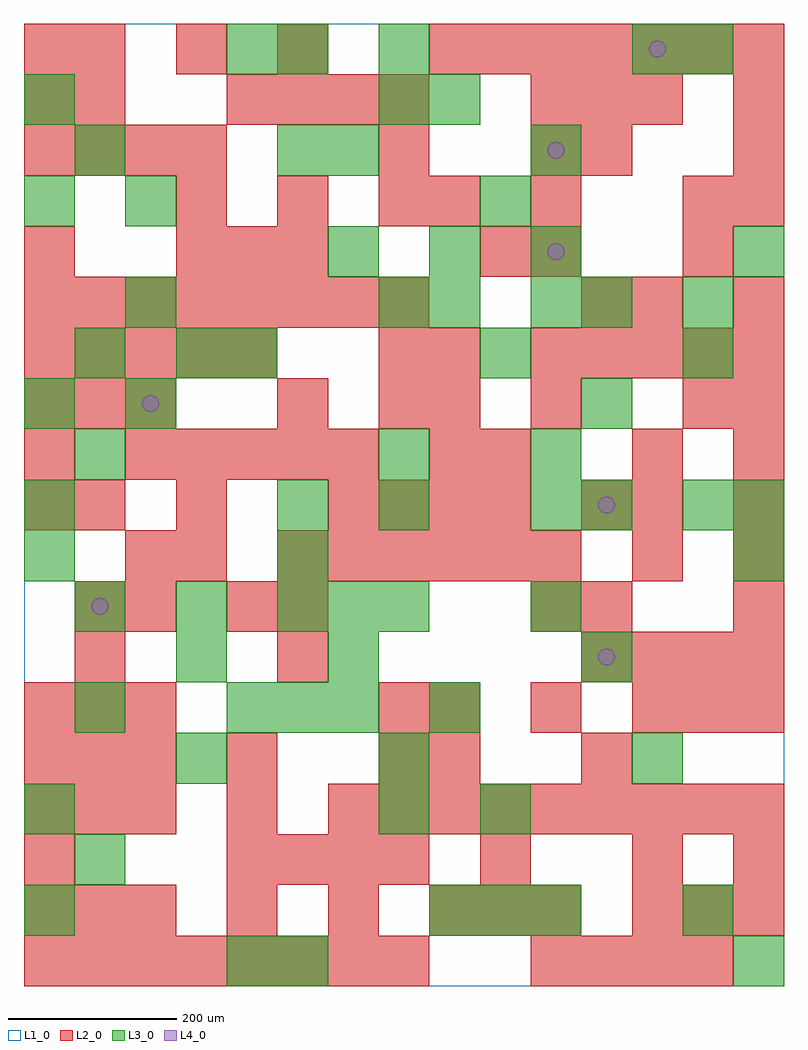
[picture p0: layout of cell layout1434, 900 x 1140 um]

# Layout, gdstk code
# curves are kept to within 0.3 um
import gdstk
lib = gdstk.Library(unit=1e-6, precision=1e-09)
def R(c, l, rs):  # rectangles x0, y0, x1, y1
    for r in rs: c.add(gdstk.rectangle(r[:2], r[2:], *l))
def A(c, l, x, y, w, h, nx, ny, dx, dy):  # array of equal rectangles
    R(c, l, [(x+i*dx, y+j*dy, x+i*dx+w, y+j*dy+h) for i in range(nx) for j in range(ny)])
def P(c, l, *ps):  # polygons
    for p in ps: c.add(gdstk.Polygon(p, *l))
L1_0 = (1, 0)
L2_0 = (2, 0)
L3_0 = (3, 0)
L4_0 = (4, 0)

layout1434 = lib.new_cell('layout1434')
R(layout1434, L1_0, [(0,0,900,1140)])
A(layout1434, L2_0, 0, 0, 60, 60, 8, 2, 60, 780)
A(layout1434, L2_0, 600, 0, 60, 60, 4, 1, 60, 0)
A(layout1434, L2_0, 0, 60, 60, 60, 3, 2, 60, 120)
A(layout1434, L2_0, 240, 60, 60, 60, 3, 1, 120, 0)
A(layout1434, L2_0, 720, 60, 60, 60, 3, 1, 60, 0)
A(layout1434, L2_0, 240, 120, 60, 60, 4, 2, 60, 900)
A(layout1434, L2_0, 360, 180, 60, 60, 9, 1, 60, 0)
A(layout1434, L2_0, 0, 240, 60, 60, 3, 2, 60, 60)
A(layout1434, L2_0, 480, 300, 60, 60, 3, 1, 120, 0)
A(layout1434, L2_0, 660, 360, 60, 60, 4, 1, 60, 0)
A(layout1434, L2_0, 840, 420, 60, 60, 1, 5, 0, 60)
A(layout1434, L2_0, 300, 480, 60, 60, 6, 1, 60, 0)
A(layout1434, L2_0, 720, 480, 60, 60, 1, 3, 0, 60)
A(layout1434, L2_0, 360, 540, 60, 60, 4, 1, 60, 0)
A(layout1434, L2_0, 120, 600, 60, 60, 5, 1, 60, 0)
A(layout1434, L2_0, 480, 600, 60, 60, 1, 3, 0, 60)
A(layout1434, L2_0, 0, 660, 60, 60, 3, 1, 60, 0)
A(layout1434, L2_0, 0, 720, 60, 60, 5, 1, 60, 0)
A(layout1434, L2_0, 600, 720, 60, 60, 5, 1, 60, 0)
A(layout1434, L2_0, 180, 840, 60, 60, 3, 1, 60, 0)
A(layout1434, L2_0, 600, 840, 60, 60, 1, 3, 0, 60)
A(layout1434, L2_0, 180, 900, 60, 60, 3, 1, 120, 0)
A(layout1434, L2_0, 840, 900, 60, 60, 1, 3, 0, 60)
A(layout1434, L2_0, 0, 960, 60, 60, 4, 1, 60, 0)
A(layout1434, L2_0, 600, 1020, 60, 60, 3, 1, 60, 0)
A(layout1434, L2_0, 60, 1080, 60, 60, 3, 1, 120, 0)
A(layout1434, L2_0, 480, 1080, 60, 60, 7, 1, 60, 0)
R(layout1434, L2_0, [(540,60,600,120), (600,60,660,120), (0,120,60,180), (540,120,600,180), (720,120,780,180), (840,120,900,180), (240,180,300,240), (240,240,300,300), (420,240,480,300), (480,240,540,300), (660,240,720,300), (420,300,480,360), (780,300,840,360), (840,300,900,360), (60,360,120,420), (300,360,360,420), (60,420,120,480), (120,420,180,480), (240,420,300,480), (300,420,360,480), (600,420,660,480), (660,420,720,480), (120,480,180,540), (180,480,240,540), (0,540,60,600), (60,540,120,600), (180,540,240,600), (660,540,720,600), (0,600,60,660), (540,600,600,660), (300,660,360,720), (420,660,480,720), (600,660,660,720), (780,660,840,720), (420,720,480,780), (660,780,720,840), (720,780,780,840), (840,780,900,840), (0,840,60,900), (540,840,600,900), (780,840,840,900), (480,900,540,960), (780,900,840,960), (420,960,480,1020), (660,960,720,1020), (0,1020,60,1080), (60,1020,120,1080), (0,1080,60,1140)])
A(layout1434, L3_0, 480, 60, 60, 60, 3, 1, 60, 0)
A(layout1434, L3_0, 240, 300, 60, 60, 3, 1, 60, 0)
A(layout1434, L3_0, 60, 420, 60, 60, 3, 1, 120, 0)
A(layout1434, L3_0, 660, 540, 60, 60, 1, 3, 0, 120)
A(layout1434, L3_0, 600, 600, 60, 60, 1, 3, 0, 180)
A(layout1434, L3_0, 120, 660, 60, 60, 1, 3, 0, 120)
A(layout1434, L3_0, 360, 840, 60, 60, 3, 1, 120, 0)
R(layout1434, L3_0, [(240,0,300,60), (300,0,360,60), (840,0,900,60), (0,60,60,120), (780,60,840,120), (60,120,120,180), (0,180,60,240), (420,180,480,240), (540,180,600,240), (180,240,240,300), (420,240,480,300), (720,240,780,300), (60,300,120,360), (480,300,540,360), (180,360,240,420), (360,360,420,420), (660,360,720,420), (360,420,420,480), (420,420,480,480), (600,420,660,480), (0,480,60,540), (300,480,360,540), (840,480,900,540), (0,540,60,600), (300,540,360,600), (420,540,480,600), (600,540,660,600), (780,540,840,600), (840,540,900,600), (60,600,120,660), (420,600,480,660), (0,660,60,720), (60,720,120,780), (180,720,240,780), (240,720,300,780), (540,720,600,780), (780,720,840,780), (420,780,480,840), (480,780,540,840), (780,780,840,840), (840,840,900,900), (0,900,60,960), (540,900,600,960), (60,960,120,1020), (300,960,360,1020), (360,960,420,1020), (0,1020,60,1080), (420,1020,480,1080), (480,1020,540,1080), (240,1080,300,1140), (300,1080,360,1140), (420,1080,480,1140), (720,1080,780,1140), (780,1080,840,1140)])
P(layout1434, L4_0, [(100,450),(99.239,453.827),(97.071,457.071),(93.827,459.239),(90,460),(86.173,459.239),(82.929,457.071),(80.761,453.827),(80,450),(80.761,446.173),(82.929,442.929),(86.173,440.761),(90,440),(93.827,440.761),(97.071,442.929),(99.239,446.173)],
  [(160,690),(159.239,693.827),(157.071,697.071),(153.827,699.239),(150,700),(146.173,699.239),(142.929,697.071),(140.761,693.827),(140,690),(140.761,686.173),(142.929,682.929),(146.173,680.761),(150,680),(153.827,680.761),(157.071,682.929),(159.239,686.173)],
  [(640,870),(639.239,873.827),(637.071,877.071),(633.827,879.239),(630,880),(626.173,879.239),(622.929,877.071),(620.761,873.827),(620,870),(620.761,866.173),(622.929,862.929),(626.173,860.761),(630,860),(633.827,860.761),(637.071,862.929),(639.239,866.173)],
  [(640,990),(639.239,993.827),(637.071,997.071),(633.827,999.239),(630,1000),(626.173,999.239),(622.929,997.071),(620.761,993.827),(620,990),(620.761,986.173),(622.929,982.929),(626.173,980.761),(630,980),(633.827,980.761),(637.071,982.929),(639.239,986.173)],
  [(700,390),(699.239,393.827),(697.071,397.071),(693.827,399.239),(690,400),(686.173,399.239),(682.929,397.071),(680.761,393.827),(680,390),(680.761,386.173),(682.929,382.929),(686.173,380.761),(690,380),(693.827,380.761),(697.071,382.929),(699.239,386.173)],
  [(700,570),(699.239,573.827),(697.071,577.071),(693.827,579.239),(690,580),(686.173,579.239),(682.929,577.071),(680.761,573.827),(680,570),(680.761,566.173),(682.929,562.929),(686.173,560.761),(690,560),(693.827,560.761),(697.071,562.929),(699.239,566.173)],
  [(760,1110),(759.239,1113.827),(757.071,1117.071),(753.827,1119.239),(750,1120),(746.173,1119.239),(742.929,1117.071),(740.761,1113.827),(740,1110),(740.761,1106.173),(742.929,1102.929),(746.173,1100.761),(750,1100),(753.827,1100.761),(757.071,1102.929),(759.239,1106.173)])

lib.write_gds('layout1434.gds')
